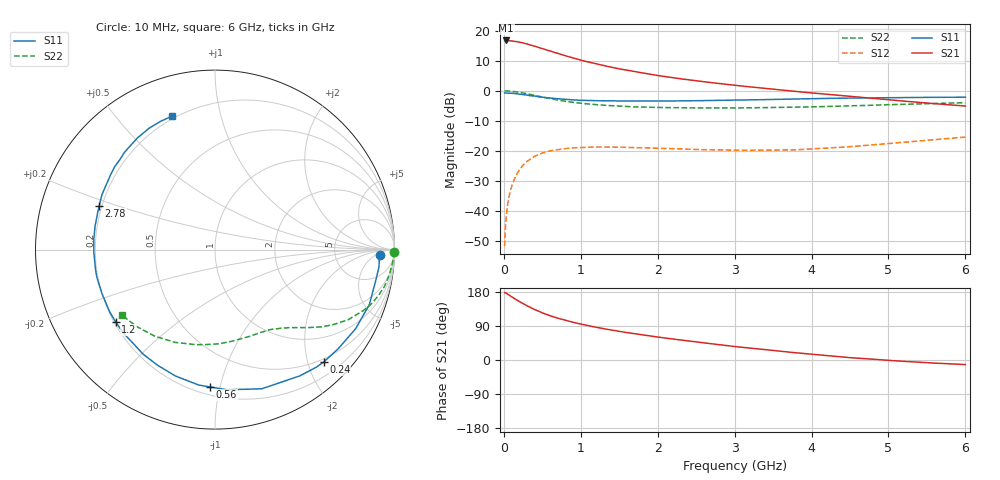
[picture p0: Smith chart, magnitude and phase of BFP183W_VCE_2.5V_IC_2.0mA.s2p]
! Infineon Technologies  Discrete & RF Semiconductors
! BFP183W
! VCE = 2.5 V,  IC =  2.0 mA
! Common Emitter S-Parameters:  Jan 2016
# GHz  S  MA  R  50
!  f  S11  S21  S12  S22
! GHz  MAG  ANG  MAG  ANG  MAG  ANG  MAG  ANG
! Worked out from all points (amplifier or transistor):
!   210 points, 10 MHz to 6 GHz, reference 50 ohm
!   highest |S21| = 16.7 dB at 30 MHz (marker M1)
!   |S21| within 3 dB of that: start of sweep to 535.9 MHz
!   unconditionally stable (mu >= 1): 2.357 GHz to end of sweep
!   at 185 MHz: K = 0.09, MSG = 21.6 dB, |S12| = -27.0 dB
!   at 1.52 GHz: K = 0.65, MSG = 13.0 dB, |S12| = -18.8 dB
!   at 6 GHz: K = 1.02, MAG = 4.3 dB, |S12| = -15.4 dB
!   S11 on the Smith chart (normalised r, x): 10 MHz: 20, -8; 240 MHz: 0.44, -2.29; 560 MHz: 0.25, -0.93; 1.2 GHz: 0.21, -0.31; 2.78 GHz: 0.19, +0.18; 6 GHz: 0.19, +0.71
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0.01  0.9194 -2.0  6.824 178.0  0.0026 89.0  0.9974 -0.8
0.02  0.9169 -4.0  6.846 177.5  0.0052 85.4  0.9925 -1.7
0.03  0.9189 -6.0  6.869 176.2  0.0076 87.6  0.9954 -2.5
0.055  0.9118 -11.0  6.84 173.0  0.0143 83.6  0.9907 -4.5
0.1  0.9128 -19.6  6.756 167.1  0.0252 79.1  0.982 -8.2
0.175  0.8871 -34.0  6.541 157.4  0.0424 70.2  0.9549 -14.1
0.24  0.8712 -45.9  6.29 150.1  0.056 63.9  0.9252 -18.7
0.3  0.8474 -56.1  6.007 143.0  0.0668 58.5  0.8927 -22.4
0.4  0.8181 -71.4  5.526 133.2  0.0813 50.3  0.8382 -27.8
0.5  0.7838 -85.1  5.032 124.3  0.0922 43.7  0.7864 -31.9
0.56  0.7655 -92.1  4.755 120.0  0.0968 40.2  0.7582 -34.0
0.7  0.7378 -107.4  4.199 110.4  0.1053 33.5  0.7016 -38.1
0.8  0.7195 -116.3  3.82 104.6  0.1092 29.6  0.6683 -40.6
1.02  0.692 -132.7  3.179 94.0  0.1142 23.0  0.6159 -44.9
1.2  0.6847 -144.0  2.797 86.3  0.1161 18.7  0.5874 -48.0
1.6  0.6748 -163.4  2.197 72.3  0.1145 13.6  0.5465 -54.3
2.02  0.6752 -179.0  1.781 60.1  0.1107 11.3  0.5274 -61.1
2.78  0.6903 159.2  1.327 40.8  0.1039 12.7  0.5176 -75.0
3.1  0.7023 151.5  1.196 33.6  0.1025 15.2  0.5196 -81.5
4.1  0.7423 131.4  0.899 13.7  0.1095 25.8  0.5428 -103.8
5.1  0.7706 117.2  0.69 -2.3  0.1354 32.9  0.5907 -127.0
6  0.7814 107.8  0.557 -12.1  0.1698 33.7  0.6345 -144.8
